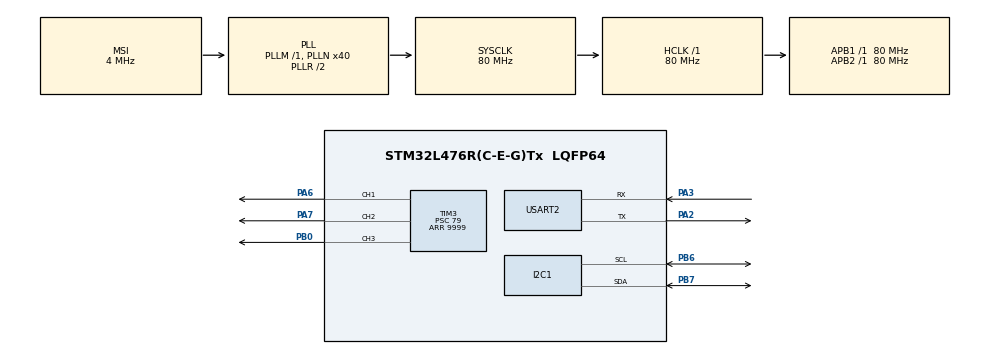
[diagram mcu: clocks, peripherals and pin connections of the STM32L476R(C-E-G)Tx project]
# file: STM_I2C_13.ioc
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I2C1.I2C_Fall_Time=100
I2C1.Timing=0x10D19CE4
Mcu.Family=STM32L4
Mcu.Name=STM32L476R(C-E-G)Tx
Mcu.Package=LQFP64
NVIC.PriorityGroup=NVIC_PRIORITYGROUP_4
NVIC.TIM3_IRQn=true\:2\:0\:true\:false\:true\:true\:true\:true
NVIC.TIM6_DAC_IRQn=true\:2\:0\:true\:false\:true\:true\:true\:true
NVIC.TIM7_IRQn=true\:2\:0\:true\:false\:true\:true\:true\:true
PA13\ (JTMS-SWDIO).Mode=Serial_Wire
PA13\ (JTMS-SWDIO).Signal=SYS_JTMS-SWDIO
PA14\ (JTCK-SWCLK).Mode=Serial_Wire
PA14\ (JTCK-SWCLK).Signal=SYS_JTCK-SWCLK
PA2.Mode=Asynchronous
PA2.Signal=USART2_TX
PA3.Mode=Asynchronous
PA3.Signal=USART2_RX
PA6.Signal=S_TIM3_CH1
PA7.Signal=S_TIM3_CH2
PB0.Signal=S_TIM3_CH3
PB6.Mode=I2C
PB6.Signal=I2C1_SCL
PB7.Mode=I2C
PB7.Signal=I2C1_SDA
ProjectManager.HeapSize=0x200
ProjectManager.StackSize=0x400
ProjectManager.TargetToolchain=STM32CubeIDE
RCC.AHBFreq_Value=80000000
RCC.APB1Freq_Value=80000000
RCC.APB1TimFreq_Value=80000000
RCC.APB2Freq_Value=80000000
RCC.APB2TimFreq_Value=80000000
RCC.CortexFreq_Value=80000000
RCC.HCLKFreq_Value=80000000
RCC.HSE_VALUE=8000000
RCC.HSI_VALUE=16000000
RCC.LSE_VALUE=32768
RCC.MSI_VALUE=4000000
RCC.PLLN=40
RCC.SYSCLKFreq_VALUE=80000000
RCC.SYSCLKSource=RCC_SYSCLKSOURCE_PLLCLK
RCC.VCOOutputFreq_Value=160000000
SH.S_TIM3_CH1.0=TIM3_CH1,PWM Generation1 CH1
SH.S_TIM3_CH2.0=TIM3_CH2,PWM Generation2 CH2
SH.S_TIM3_CH3.0=TIM3_CH3,PWM Generation3 CH3
TIM3.Channel-PWM\ Generation1\ CH1=TIM_CHANNEL_1
TIM3.Channel-PWM\ Generation2\ CH2=TIM_CHANNEL_2
TIM3.Channel-PWM\ Generation3\ CH3=TIM_CHANNEL_3
TIM3.OCPolarity_1=TIM_OCPOLARITY_LOW
TIM3.OCPolarity_2=TIM_OCPOLARITY_LOW
TIM3.OCPolarity_3=TIM_OCPOLARITY_LOW
TIM3.Period=9999
TIM3.Prescaler=79
TIM3.Pulse-PWM\ Generation1\ CH1=50
TIM3.Pulse-PWM\ Generation2\ CH2=400
TIM3.Pulse-PWM\ Generation3\ CH3=2000
TIM6.AutoReloadPreload=TIM_AUTORELOAD_PRELOAD_ENABLE
TIM6.Period=9999
TIM6.Prescaler=7999
TIM7.AutoReloadPreload=TIM_AUTORELOAD_PRELOAD_ENABLE
TIM7.Period=999
TIM7.Prescaler=7999
USART2.VirtualMode-Asynchronous=VM_ASYNC
VP_TIM3_VS_ClockSourceINT.Mode=Internal
VP_TIM6_VS_ClockSourceINT.Mode=Enable_Timer
VP_TIM7_VS_ClockSourceINT.Mode=Enable_Timer
board=custom

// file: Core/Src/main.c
/* USER CODE BEGIN Header */
/**
  ******************************************************************************
  * @file           : main.c
  * @brief          : Main program body
  ******************************************************************************
  * @attention
  *
  * Copyright (c) 2024 STMicroelectronics.
  * All rights reserved.
  *
  * This software is licensed under terms that can be found in the LICENSE file
  * in the root directory of this software component.
  * If no LICENSE file comes with this software, it is provided AS-IS.
  *
  ******************************************************************************
  */
/* USER CODE END Header */
#include "main.h"
#include "i2c.h"
#include "tim.h"
#include "usart.h"
#include "gpio.h"

/* USER CODE BEGIN Includes */
#include <stdio.h>
#include <math.h>
#include "lps25hb.h"
/* USER CODE END Includes */

void SystemClock_Config(void);

/* USER CODE BEGIN 0 */
static int count_TIM = 0;
static float p0 = 0;

int __io_putchar(int ch)
{
	if(ch == '\n')
	{
		__io_putchar('\r');
	}
	HAL_UART_Transmit(&huart2, (uint8_t*)&ch, 1, HAL_MAX_DELAY);
	return 1;
}

void HAL_INIT()
{
	HAL_TIM_Base_Start_IT(&htim3);
	HAL_TIM_Base_Start_IT(&htim6);
	HAL_TIM_Base_Start_IT(&htim7);
	HAL_TIM_PWM_Start(&htim3, TIM_CHANNEL_1);
	HAL_TIM_PWM_Start(&htim3, TIM_CHANNEL_2);
	HAL_TIM_PWM_Start(&htim3, TIM_CHANNEL_3);
}

float check_LPS25HB(void)
{
	  printf("Searching...\n");
	  if(lps25hb_init() == HAL_OK)
	  {
		  lps25hb_set_calib(96); //ustaw później pod siebie
		  printf("OK: LPS25HB\n");
	  } else {
		  printf("Error: LPS25HB not found\n");
		  Error_Handler();
	  }
	  float p0 = lps25hb_read_pressure();
	  return p0;
}

/*
float calc_pwm(float val)
{
	const float k = 0.13f;
	const float x0 = 70.0f;
	return 10000.0f / (1.0f + exp(-k * (val - x0)));
}
*/
void HAL_TIM_PeriodElapsedCallback(TIM_HandleTypeDef *htim)
{
	if(htim->Instance == TIM6)
	{
		if(count_TIM >= 1)
		{
			float temp = lps25hb_read_temp() + 273.15;
			float p = lps25hb_read_pressure();
			float h = -29.271769 * temp * log(p / p0);
			printf("h = %.2f m\n", h);

			if(h > 0)
			{
				__HAL_TIM_SET_COMPARE(&htim3, TIM_CHANNEL_1, 10000);
				__HAL_TIM_SET_COMPARE(&htim3, TIM_CHANNEL_2, 0);
				__HAL_TIM_SET_COMPARE(&htim3, TIM_CHANNEL_3, 0);
			} else if(h < 0)
			{
				__HAL_TIM_SET_COMPARE(&htim3, TIM_CHANNEL_1, 0);
				__HAL_TIM_SET_COMPARE(&htim3, TIM_CHANNEL_2, 0);
				__HAL_TIM_SET_COMPARE(&htim3, TIM_CHANNEL_3, 10000);
			} else {
                __HAL_TIM_SET_COMPARE(&htim3, TIM_CHANNEL_1, 0);
                __HAL_TIM_SET_COMPARE(&htim3, TIM_CHANNEL_2, 10000);
                __HAL_TIM_SET_COMPARE(&htim3, TIM_CHANNEL_3, 0);
			}

		} else {
			p0 = check_LPS25HB();
			count_TIM++;
		}
	}
}

/* USER CODE END 0 */

int main(void)
{

  /* MCU Configuration--------------------------------------------------------*/

  /* Reset of all peripherals, Initializes the Flash interface and the Systick. */
  HAL_Init();

  /* Configure the system clock */
  SystemClock_Config();

  /* Initialize all configured peripherals */
  MX_GPIO_Init();
  MX_I2C1_Init();
  MX_USART2_UART_Init();
  MX_TIM3_Init();
  MX_TIM6_Init();
  MX_TIM7_Init();
  /* USER CODE BEGIN 2 */
  HAL_INIT();

  /* USER CODE END 2 */

  /* Infinite loop */
  while (1)
  {

  }
}

void SystemClock_Config(void)
{
  RCC_OscInitTypeDef RCC_OscInitStruct = {0};
  RCC_ClkInitTypeDef RCC_ClkInitStruct = {0};

  /** Configure the main internal regulator output voltage
  */
  if (HAL_PWREx_ControlVoltageScaling(PWR_REGULATOR_VOLTAGE_SCALE1) != HAL_OK)
  {
    Error_Handler();
  }

  /** Initializes the RCC Oscillators according to the specified parameters
  * in the RCC_OscInitTypeDef structure.
  */
  RCC_OscInitStruct.OscillatorType = RCC_OSCILLATORTYPE_MSI;
  RCC_OscInitStruct.MSIState = RCC_MSI_ON;
  RCC_OscInitStruct.MSICalibrationValue = 0;
  RCC_OscInitStruct.MSIClockRange = RCC_MSIRANGE_6;
  RCC_OscInitStruct.PLL.PLLState = RCC_PLL_ON;
  RCC_OscInitStruct.PLL.PLLSource = RCC_PLLSOURCE_MSI;
  RCC_OscInitStruct.PLL.PLLM = 1;
  RCC_OscInitStruct.PLL.PLLN = 40;
  RCC_OscInitStruct.PLL.PLLP = RCC_PLLP_DIV7;
  RCC_OscInitStruct.PLL.PLLQ = RCC_PLLQ_DIV2;
  RCC_OscInitStruct.PLL.PLLR = RCC_PLLR_DIV2;
  if (HAL_RCC_OscConfig(&RCC_OscInitStruct) != HAL_OK)
  {
    Error_Handler();
  }

  /** Initializes the CPU, AHB and APB buses clocks
  */
  RCC_ClkInitStruct.ClockType = RCC_CLOCKTYPE_HCLK|RCC_CLOCKTYPE_SYSCLK
                              |RCC_CLOCKTYPE_PCLK1|RCC_CLOCKTYPE_PCLK2;
  RCC_ClkInitStruct.SYSCLKSource = RCC_SYSCLKSOURCE_PLLCLK;
  RCC_ClkInitStruct.AHBCLKDivider = RCC_SYSCLK_DIV1;
  RCC_ClkInitStruct.APB1CLKDivider = RCC_HCLK_DIV1;
  RCC_ClkInitStruct.APB2CLKDivider = RCC_HCLK_DIV1;

  if (HAL_RCC_ClockConfig(&RCC_ClkInitStruct, FLASH_LATENCY_4) != HAL_OK)
  {
    Error_Handler();
  }
}

void Error_Handler(void)
{
  __disable_irq();
  while (1)
  {
  }
}
